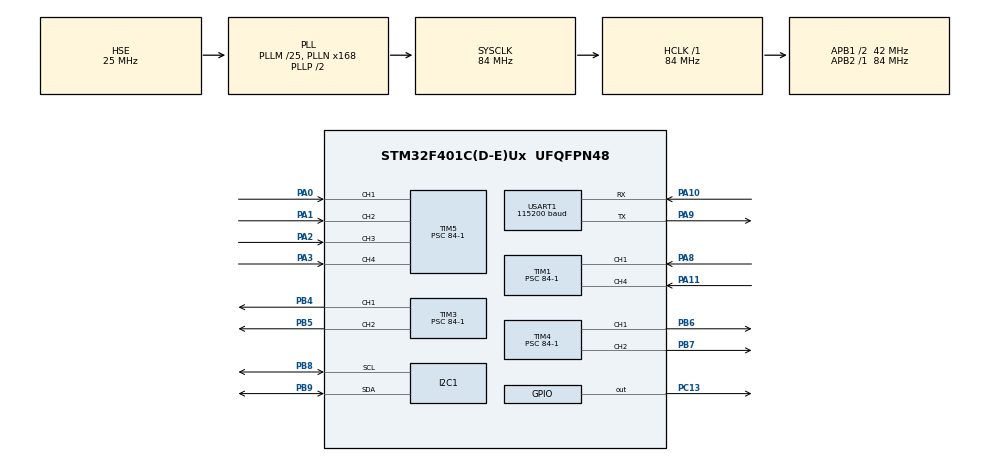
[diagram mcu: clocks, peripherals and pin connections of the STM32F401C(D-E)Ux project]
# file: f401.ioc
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Dma.Request0=USART1_RX
Dma.Request1=USART1_TX
Dma.USART1_RX.0.Direction=DMA_PERIPH_TO_MEMORY
Dma.USART1_RX.0.FIFOMode=DMA_FIFOMODE_DISABLE
Dma.USART1_RX.0.Instance=DMA2_Stream2
Dma.USART1_RX.0.MemDataAlignment=DMA_MDATAALIGN_BYTE
Dma.USART1_RX.0.MemInc=DMA_MINC_ENABLE
Dma.USART1_RX.0.Mode=DMA_CIRCULAR
Dma.USART1_RX.0.PeriphDataAlignment=DMA_PDATAALIGN_BYTE
Dma.USART1_RX.0.PeriphInc=DMA_PINC_DISABLE
Dma.USART1_RX.0.Priority=DMA_PRIORITY_HIGH
Dma.USART1_TX.1.Direction=DMA_MEMORY_TO_PERIPH
Dma.USART1_TX.1.FIFOMode=DMA_FIFOMODE_DISABLE
Dma.USART1_TX.1.Instance=DMA2_Stream7
Dma.USART1_TX.1.MemDataAlignment=DMA_MDATAALIGN_BYTE
Dma.USART1_TX.1.MemInc=DMA_MINC_ENABLE
Dma.USART1_TX.1.Mode=DMA_NORMAL
Dma.USART1_TX.1.PeriphDataAlignment=DMA_PDATAALIGN_BYTE
Dma.USART1_TX.1.PeriphInc=DMA_PINC_DISABLE
Dma.USART1_TX.1.Priority=DMA_PRIORITY_MEDIUM
I2C1.I2C_Mode=I2C_Fast
Mcu.Family=STM32F4
Mcu.Name=STM32F401C(D-E)Ux
Mcu.Package=UFQFPN48
NVIC.DMA2_Stream2_IRQn=true\:0\:0\:false\:false\:true\:false\:true\:true
NVIC.DMA2_Stream7_IRQn=true\:0\:0\:false\:false\:true\:false\:true\:true
NVIC.PriorityGroup=NVIC_PRIORITYGROUP_4
NVIC.TIM1_CC_IRQn=true\:0\:0\:false\:false\:true\:true\:true\:true
NVIC.TIM5_IRQn=true\:0\:0\:false\:false\:true\:true\:true\:true
NVIC.USART1_IRQn=true\:0\:0\:false\:false\:true\:true\:true\:true
PA0-WKUP.Signal=S_TIM5_CH1
PA1.Signal=S_TIM5_CH2
PA10.Mode=Asynchronous
PA10.Signal=USART1_RX
PA11.Signal=S_TIM1_CH4
PA13.Mode=Serial_Wire
PA13.Signal=SYS_JTMS-SWDIO
PA14.Mode=Serial_Wire
PA14.Signal=SYS_JTCK-SWCLK
PA2.Signal=S_TIM5_CH3
PA3.Signal=S_TIM5_CH4
PA8.Signal=S_TIM1_CH1
PA9.Mode=Asynchronous
PA9.Signal=USART1_TX
PB4.Signal=S_TIM3_CH1
PB5.Signal=S_TIM3_CH2
PB6.Signal=S_TIM4_CH1
PB7.Signal=S_TIM4_CH2
PB8.Mode=I2C
PB8.Signal=I2C1_SCL
PB9.Mode=I2C
PB9.Signal=I2C1_SDA
PC13-ANTI_TAMP.Signal=GPIO_Output
PH0\ -\ OSC_IN.Mode=HSE-External-Oscillator
PH0\ -\ OSC_IN.Signal=RCC_OSC_IN
PH1\ -\ OSC_OUT.Mode=HSE-External-Oscillator
PH1\ -\ OSC_OUT.Signal=RCC_OSC_OUT
ProjectManager.HeapSize=0x200
ProjectManager.StackSize=0x400
ProjectManager.TargetToolchain=STM32CubeIDE
RCC.48MHZClocksFreq_Value=42000000
RCC.AHBFreq_Value=84000000
RCC.APB1CLKDivider=RCC_HCLK_DIV2
RCC.APB1Freq_Value=42000000
RCC.APB1TimFreq_Value=84000000
RCC.APB2Freq_Value=84000000
RCC.APB2TimFreq_Value=84000000
RCC.CortexFreq_Value=84000000
RCC.HCLKFreq_Value=84000000
RCC.HSE_VALUE=25000000
RCC.HSI_VALUE=16000000
RCC.LSE_VALUE=32768
RCC.PLLM=25
RCC.PLLN=168
RCC.PLLSourceVirtual=RCC_PLLSOURCE_HSE
RCC.SYSCLKFreq_VALUE=84000000
RCC.SYSCLKSource=RCC_SYSCLKSOURCE_PLLCLK
RCC.VCOOutputFreq_Value=168000000
SH.S_TIM1_CH1.0=TIM1_CH1,Input_Capture1_from_TI1
SH.S_TIM1_CH4.0=TIM1_CH4,Input_Capture4_from_TI4
SH.S_TIM3_CH1.0=TIM3_CH1,PWM Generation1 CH1
SH.S_TIM3_CH2.0=TIM3_CH2,PWM Generation2 CH2
SH.S_TIM4_CH1.0=TIM4_CH1,PWM Generation1 CH1
SH.S_TIM4_CH2.0=TIM4_CH2,PWM Generation2 CH2
SH.S_TIM5_CH1.0=TIM5_CH1,Input_Capture1_from_TI1
SH.S_TIM5_CH2.0=TIM5_CH2,Input_Capture2_from_TI2
SH.S_TIM5_CH3.0=TIM5_CH3,Input_Capture3_from_TI3
SH.S_TIM5_CH4.0=TIM5_CH4,Input_Capture4_from_TI4
STMicroelectronics.X-CUBE-ALGOBUILD.1.4.0.LibraryCcDSPOoLibraryJjDSPOoLibrary=true
TIM1.Channel-Input_Capture1_from_TI1=TIM_CHANNEL_1
TIM1.Channel-Input_Capture4_from_TI4=TIM_CHANNEL_4
TIM1.ICPolarity_CH1=TIM_INPUTCHANNELPOLARITY_BOTHEDGE
TIM1.ICPolarity_CH4=TIM_INPUTCHANNELPOLARITY_BOTHEDGE
TIM1.Prescaler=84-1
TIM2.Prescaler=84-1
TIM3.Channel-PWM\ Generation1\ CH1=TIM_CHANNEL_1
TIM3.Channel-PWM\ Generation2\ CH2=TIM_CHANNEL_2
TIM3.Period=2500-1
TIM3.Prescaler=84-1
TIM4.Channel-PWM\ Generation1\ CH1=TIM_CHANNEL_1
TIM4.Channel-PWM\ Generation2\ CH2=TIM_CHANNEL_2
TIM4.Period=2500-1
TIM4.Prescaler=84-1
TIM5.Channel-Input_Capture1_from_TI1=TIM_CHANNEL_1
TIM5.Channel-Input_Capture2_from_TI2=TIM_CHANNEL_2
TIM5.Channel-Input_Capture3_from_TI3=TIM_CHANNEL_3
TIM5.Channel-Input_Capture4_from_TI4=TIM_CHANNEL_4
TIM5.ICPolarity_CH1=TIM_INPUTCHANNELPOLARITY_BOTHEDGE
TIM5.ICPolarity_CH2=TIM_INPUTCHANNELPOLARITY_BOTHEDGE
TIM5.ICPolarity_CH3=TIM_INPUTCHANNELPOLARITY_BOTHEDGE
TIM5.ICPolarity_CH4=TIM_INPUTCHANNELPOLARITY_BOTHEDGE
TIM5.Prescaler=84-1
USART1.BaudRate=115200
USART1.VirtualMode=VM_ASYNC
VP_STMicroelectronics.X-CUBE-ALGOBUILD_VS_DSPOoLibraryJjLibrary_1.4.0_1.4.0.Mode=DSPOoLibraryJjLibrary
VP_TIM2_VS_ClockSourceINT.Mode=Internal
VP_TIM3_VS_ClockSourceINT.Mode=Internal
VP_TIM4_VS_ClockSourceINT.Mode=Internal
VP_TIM5_VS_ClockSourceINT.Mode=Internal
board=custom

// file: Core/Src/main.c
/* USER CODE BEGIN Header */
/**
  * @file           : main.c
  * @brief          : FLIGHT CONTROLLER - RC RECEIVER READY
  * Updated         : iNav Style Support & Physical RC Setup
  */
/* USER CODE END Header */

#include "main.h"
#include "dma.h"
#include "i2c.h"
#include "tim.h"
#include "usart.h"
#include "gpio.h"

/* USER CODE BEGIN Includes */
#include "arm_math.h"
#include "Filter.h"
#include "PID.h"
#include <string.h>
#include <stdlib.h>
#include <stdio.h>
#include "Cal.h"
/* USER CODE END Includes */

/* USER CODE BEGIN PTD */
typedef enum {
    HOVER,      // Chế độ Angle (Tự cân bằng)
    RATE_MODE,  // Chế độ Rate (Bay nhào lộn / Khóa góc)
} MPC_Status_t;

typedef enum {
    ARM,
    NOT_ARM
} ARM_Status_t;

IMU_RAW_DATA_t MPU6500_RAW_DATA;
IMU_Data_t MPU6500_DATA;

MAG_RAW_DATA_t HMC5883L_RAW_DATA;
MAG_DATA_t HMC5883L_DATA;

MagCal_Simple_t MagCal = {
    .S = 1.0f,
    .state = MAG_CAL_DONE,
    .samples_target = 5000,
	.offset = {4.7840004f, -3.45000076f, 7.36000061f},
	.scale  = {0.937098265f, 0.954184234f, 1.13012183f}

};

Complimentary_Filter_t Complimentary_Filter = {
    .alpha[0] = 0.99, .alpha[1] = 0.99, .alpha[2] = 0.96,
};

/* ===================== PID CONFIGURATION ===================== */
// LƯU Ý: Feed Forward đang để 0.05 (Mức thấp an toàn cho iNav style)
// Sau khi bay ổn, hãy tăng dần lên 0.1 -> 0.2 để bay "dính tay" hơn.

// RATE LOOP (Inner Loop)
PID_ALTIDUE_t PID_RATE_ROLL = {
    .alpha_lpf = 0.88, .feed_forward = 0.05f, .i_limit = 75, .max_output = 400,
    .kp = 0.700993, .ki = 1.265000, .kd = 0.112501, .d_limit = 22.5,
};
PID_ALTIDUE_t PID_RATE_PITCH = {
    .alpha_lpf = 0.88, .feed_forward = 0.05f, .i_limit = 75, .max_output = 400,
    .kp = 0.700993, .ki = 1.265000, .kd = 0.112501, .d_limit = 22.5,
};
PID_ALTIDUE_t PID_RATE_YAW = {
    .alpha_lpf = 0.88, .feed_forward = 0.05f, .i_limit = 75, .max_output = 400,
    .kp = 1.456010, .ki = 1.401011, .kd = 0.138702, .d_limit = 22.5,
};

// ANGLE LOOP (Outer Loop)
PID_ALTIDUE_t PID_ROLL = {
    .alpha_lpf = 0.88, .feed_forward = 0, .i_limit = 65, .max_output = 150,
    .kp = 1.7, .ki = 0.007, .kd = 1.8, .d_limit = 22.5,
};
PID_ALTIDUE_t PID_PITCH = {
    .alpha_lpf = 0.88, .feed_forward = 0, .i_limit = 65, .max_output = 150,
    .kp = 1.7, .ki = 0.007, .kd = 1.8, .d_limit = 22.5,
};
PID_ALTIDUE_t PID_YAW = {
    .alpha_lpf = 0.88, .feed_forward = 0, .i_limit = 60, .max_output = 120,
    .kp = 1.5, .ki = 0.001, .kd = 0.0, .d_limit = 22.5,
};

MPC_Status_t MPC_Status = HOVER;
ARM_Status_t ARM_Status = NOT_ARM;
/* USER CODE END PTD */

/* USER CODE BEGIN PD */
#define MIN_ARM 1240 // Mức ga tối thiểu để motor quay
#define RX_DMA_SIZE    256
#define CMD_LINE_SIZE  128
#define HMC5883L_ADDR      (0x1E << 1)
#define HMC5883L_SCALE_GAUSS 0.00092f
#define HMC5883L_SCALE_UT    (HMC5883L_SCALE_GAUSS * 100.0f)
#define MPU6050_ADDR         (0x68 << 1)
#define GYRO_SENSITIVITY     65.5f
#define ACCEL_SENSITIVITY    4096.0f
#define GRAVITY_EARTH        9.80665f
#define MAG_LPF_ALPHA   0.08f
/* USER CODE END PD */

/* USER CODE BEGIN PV */
int16_t raw_acc[3];
int16_t raw_gyro[3];
float32_t acc_phys[3], gyro_phys[3];
uint32_t current_time, prev_time, dt;
uint8_t enable_motor = 0;

// Variables for RC Control
float32_t Throttle = 1000.0f;
float32_t Moment[3];
float32_t angle_desired[3] = {0, 0, 0};
float32_t angle_rate_desired[3] = {0, 0, 0};

// Motor Output
float32_t PWM_MOTOR[4];
uint32_t PWM_TIMER[4];

// Telemetry
float vbat = 11.1f; // Bạn cần đọc ADC pin thực tế để cập nhật biến này
uint32_t last_telemetry_time = 0;

// Filters
float32_t gyro_final[3] = {0.0f, 0.0f, 0.0f};
float32_t acc_filtered[3] = {0.0f, 0.0f, 0.0f};
const float32_t alpha_acc_soft = 0.20f;
const float32_t alpha_gyro = 0.35f;
float32_t mag_filtered[3] = {0.0f, 0.0f, 0.0f};
uint8_t mag_lpf_inited = 0;

// Calibration
float32_t gyro_bias[3] = {0.0f, 0.0f, 0.0f};
float32_t accel_bias[3] = {0.0f, 0.0f, 0.0f};
uint8_t is_calibrated = 0;

// UART Buffers (For PID Tuning Only)
static uint8_t rx_dma_buf[RX_DMA_SIZE];
static char cmd_work[CMD_LINE_SIZE];
static uint16_t cmd_len = 0;
static char cmd_ready[CMD_LINE_SIZE];
static volatile uint8_t line_ready = 0;

// --- BIẾN ĐỌC RC THÔ (RAW PWM) ---
// Đơn vị: micro giây (us). Giá trị chuẩn: 1000 - 2000
volatile uint32_t RC_Raw_Roll     = 0; // TIM5 CH1
volatile uint32_t RC_Raw_Pitch    = 0; // TIM5 CH2
volatile uint32_t RC_Raw_Throttle = 0; // TIM5 CH3
volatile uint32_t RC_Raw_Yaw      = 0; // TIM5 CH4
volatile uint32_t RC_Raw_SW_Arm   = 0; // TIM1 CH1
volatile uint32_t RC_Raw_SW_Mode  = 0; // TIM1 CH4

// Biến phụ trợ để tính toán thời gian
uint32_t val_start_roll = 0, val_start_pitch = 0, val_start_thr = 0, val_start_yaw = 0;
uint32_t val_start_arm = 0, val_start_mode = 0;

static MPC_Status_t last_MPC_Status = HOVER;
static uint8_t reset_pid_request = 0; // Cờ yêu cầu đồng bộ PID

/* USER CODE END PV */

void SystemClock_Config(void);
/* USER CODE BEGIN PFP */
void IMU_PROCESS(void);
void COMPASS_PROCESS(void);
void MIX_THROTTLE(float32_t thr, float32_t* moment, float32_t* m);
void MPC(void);
void Control_Motor(void);
void RESET_ALL_PID(void);
void Send_Telemetry(void);
static void UART1_StartRxToIdle_DMA(void);
static void ProcessLine(char *line);
void MPU6050_Init(void);
void HMC5883L_Init(void);
void MPU6050_Calibrate(void);
/* USER CODE END PFP */

/* USER CODE BEGIN 0 */

/* --- UART Logic --- */
static void UART1_StartRxToIdle_DMA(void) {
    HAL_UART_DMAStop(&huart1);
    if (HAL_UARTEx_ReceiveToIdle_DMA(&huart1, rx_dma_buf, RX_DMA_SIZE) != HAL_OK) {
        HAL_UART_DeInit(&huart1);
        HAL_UART_Init(&huart1);
        HAL_UARTEx_ReceiveToIdle_DMA(&huart1, rx_dma_buf, RX_DMA_SIZE);
    }
    __HAL_DMA_DISABLE_IT(huart1.hdmarx, DMA_IT_HT);
}

// Xử lý lệnh Tune PID từ GUI (Không còn lệnh điều khiển bay)
// Xử lý lệnh Tune PID từ GUI
static void ProcessLine(char *line) {
    size_t n = strlen(line);
    while (n > 0 && (line[n-1] == '\r' || line[n-1] == '\n')) {
        line[n-1] = 0; n--;
    }
    if (n == 0) return;

    char *tok = strtok(line, ":");
    if (!tok) return;

    if (strcmp(tok, "PID") == 0) {
        char *axis = strtok(NULL, ":");
        char *s_kp = strtok(NULL, ":");
        char *s_ki = strtok(NULL, ":");
        char *s_kd = strtok(NULL, ":");

        if (axis && s_kp && s_ki && s_kd) {
            float p = strtof(s_kp, NULL);
            float i = strtof(s_ki, NULL);
            float d = strtof(s_kd, NULL);

            // 1. TUNE ANGLE LOOP (ROLL & PITCH)
            if (strcmp(axis, "ANG") == 0) {
                PID_ROLL.kp = p; PID_ROLL.ki = i; PID_ROLL.kd = d;
                PID_PITCH.kp = p; PID_PITCH.ki = i; PID_PITCH.kd = d;
                HAL_GPIO_TogglePin(GPIOC, GPIO_PIN_13);
            }

            // 2. TUNE YAW ANGLE LOOP (OUTER - MỚI)
            else if (strcmp(axis, "YANG") == 0) {
                PID_YAW.kp = p; PID_YAW.ki = i; PID_YAW.kd = d;
                HAL_GPIO_TogglePin(GPIOC, GPIO_PIN_13);
            }

            // 3. TUNE YAW RATE LOOP (INNER - CŨ)
            else if (strcmp(axis, "YAW") == 0) {
                PID_RATE_YAW.kp = p; PID_RATE_YAW.ki = i; PID_RATE_YAW.kd = d;
                HAL_GPIO_TogglePin(GPIOC, GPIO_PIN_13);
            }

            // ACK
            if (huart1.gState == HAL_UART_STATE_READY) {
                char ack[64];
                int len = snprintf(ack, sizeof(ack), "MSG:UPDATED %s P=%.3f\n", axis, p);
                if (len > 0) HAL_UART_Transmit(&huart1, (uint8_t*)ack, (uint16_t)len, 10);
            }
        }
    }
}

void Send_Telemetry(void) {
    if (huart1.gState != HAL_UART_STATE_READY) return;
    static char tx_buf[128];
    // Gửi dữ liệu góc để vẽ đồ thị
    int len = sprintf(tx_buf, "{\"roll\":%.1f,\"pitch\":%.1f,\"yaw\":%.1f,\"v\":%.1f}\n",
            Complimentary_Filter.Euler_Angle_Deg[0],
            Complimentary_Filter.Euler_Angle_Deg[1],
            Complimentary_Filter.Euler_Angle_Deg[2],
            vbat);
    HAL_UART_Transmit_DMA(&huart1, (uint8_t*)tx_buf, len);
}

/* --- IMU Functions --- */
void MPU6050_Init(void) {
    uint8_t data;
    data = 0x00; HAL_I2C_Mem_Write(&hi2c1, MPU6050_ADDR, 0x6B, 1, &data, 1, 100);
    data = 0x06; HAL_I2C_Mem_Write(&hi2c1, MPU6050_ADDR, 0x1A, 1, &data, 1, 100);
    data = 0x08; HAL_I2C_Mem_Write(&hi2c1, MPU6050_ADDR, 0x1B, 1, &data, 1, 100);
    data = 0x10; HAL_I2C_Mem_Write(&hi2c1, MPU6050_ADDR, 0x1C, 1, &data, 1, 100);
    uint8_t bypass_en = 0x02; HAL_I2C_Mem_Write(&hi2c1, MPU6050_ADDR, 0x37, 1, &bypass_en, 1, 100);
}

void MPU6050_Calibrate(void) {
    uint8_t buffer[14];
    int32_t sum_acc[3] = {0}, sum_gyro[3] = {0};
    int16_t ra_acc[3], ra_gyro[3];
    int sample_count = 1000;

    for (int i = 0; i < sample_count; i++) {
        if (HAL_I2C_Mem_Read(&hi2c1, MPU6050_ADDR, 0x3B, 1, buffer, 14, 10) == HAL_OK) {
            ra_acc[0] = (int16_t)(buffer[0] << 8 | buffer[1]);
            ra_acc[1] = (int16_t)(buffer[2] << 8 | buffer[3]);
            ra_acc[2] = (int16_t)(buffer[4] << 8 | buffer[5]);
            ra_gyro[0] = (int16_t)(buffer[8] << 8 | buffer[9]);
            ra_gyro[1] = (int16_t)(buffer[10] << 8 | buffer[11]);
            ra_gyro[2] = (int16_t)(buffer[12] << 8 | buffer[13]);

            sum_acc[0] += ra_acc[0]; sum_acc[1] += ra_acc[1]; sum_acc[2] += ra_acc[2];
            sum_gyro[0] += ra_gyro[0]; sum_gyro[1] += ra_gyro[1]; sum_gyro[2] += ra_gyro[2];
        }
        HAL_Delay(2);
    }
    gyro_bias[0] = (float)sum_gyro[0] / sample_count;
    gyro_bias[1] = (float)sum_gyro[1] / sample_count;
    gyro_bias[2] = (float)sum_gyro[2] / sample_count;
    accel_bias[0] = (float)sum_acc[0] / sample_count;
    accel_bias[1] = (float)sum_acc[1] / sample_count;
    accel_bias[2] = ((float)sum_acc[2] / sample_count) - 4096.0f;
    is_calibrated = 1;
}

void HMC5883L_Init(void) {
    uint8_t data;
    data = 0x70; HAL_I2C_Mem_Write(&hi2c1, HMC5883L_ADDR, 0x00, 1, &data, 1, 100);
    data = 0x20; HAL_I2C_Mem_Write(&hi2c1, HMC5883L_ADDR, 0x01, 1, &data, 1, 100);
    data = 0x00; HAL_I2C_Mem_Write(&hi2c1, HMC5883L_ADDR, 0x02, 1, &data, 1, 100);
    HAL_Delay(10);
}

void IMU_PROCESS(void) {
    uint8_t buffer[14];
    if (HAL_I2C_Mem_Read(&hi2c1, MPU6050_ADDR, 0x3B, 1, buffer, 14, 10) == HAL_OK) {
        raw_acc[0] = (int16_t)(buffer[0] << 8 | buffer[1]);
        raw_acc[1] = (int16_t)(buffer[2] << 8 | buffer[3]);
        raw_acc[2] = (int16_t)(buffer[4] << 8 | buffer[5]);
        raw_gyro[0] = (int16_t)(buffer[8] << 8 | buffer[9]);
        raw_gyro[1] = (int16_t)(buffer[10] << 8 | buffer[11]);
        raw_gyro[2] = (int16_t)(buffer[12] << 8 | buffer[13]);

        float32_t acc_temp[3], gyro_temp[3];
        if (is_calibrated) {
            acc_temp[0] = (float32_t)raw_acc[0] - accel_bias[0];
            acc_temp[1] = (float32_t)raw_acc[1] - accel_bias[1];
            acc_temp[2] = (float32_t)raw_acc[2] - accel_bias[2];
            gyro_temp[0] = (float32_t)raw_gyro[0] - gyro_bias[0];
            gyro_temp[1] = (float32_t)raw_gyro[1] - gyro_bias[1];
            gyro_temp[2] = (float32_t)raw_gyro[2] - gyro_bias[2];
        } else {
            acc_temp[0] = raw_acc[0]; acc_temp[1] = raw_acc[1]; acc_temp[2] = raw_acc[2];
            gyro_temp[0] = raw_gyro[0]; gyro_temp[1] = raw_gyro[1]; gyro_temp[2] = raw_gyro[2];
        }

        acc_phys[0] = (acc_temp[0] / ACCEL_SENSITIVITY) * GRAVITY_EARTH;
        acc_phys[1] = -(acc_temp[1] / ACCEL_SENSITIVITY) * GRAVITY_EARTH;
        acc_phys[2] = -(acc_temp[2] / ACCEL_SENSITIVITY) * GRAVITY_EARTH;
        gyro_phys[0] = (gyro_temp[0] / GYRO_SENSITIVITY) * DEG_TO_RAD;
        gyro_phys[1] = -(gyro_temp[1] / GYRO_SENSITIVITY) * DEG_TO_RAD;
        gyro_phys[2] = -(gyro_temp[2] / GYRO_SENSITIVITY) * DEG_TO_RAD;

        // Accel LPF
        static uint8_t acc_lpf_inited = 0;
        if (!acc_lpf_inited) {
            acc_filtered[0] = acc_phys[0]; acc_filtered[1] = acc_phys[1]; acc_filtered[2] = acc_phys[2];
            acc_lpf_inited = 1;
        } else {
            for (int i = 0; i < 3; i++) acc_filtered[i] += alpha_acc_soft * (acc_phys[i] - acc_filtered[i]);
        }

        // Gyro LPF
        static uint8_t gyro_lpf_inited = 0;
        if (!gyro_lpf_inited) {
            gyro_final[0] = gyro_phys[0]; gyro_final[1] = gyro_phys[1]; gyro_final[2] = gyro_phys[2];
            gyro_lpf_inited = 1;
        } else {
            for (int i = 0; i < 3; i++) gyro_final[i] += alpha_gyro * (gyro_phys[i] - gyro_final[i]);
        }

        MPU6500_DATA.acc[0] = acc_filtered[0]; MPU6500_DATA.acc[1] = acc_filtered[1]; MPU6500_DATA.acc[2] = acc_filtered[2];
        MPU6500_DATA.w[0] = gyro_final[0]; MPU6500_DATA.w[1] = gyro_final[1]; MPU6500_DATA.w[2] = gyro_final[2];
    }
}

void COMPASS_PROCESS(void) {
    uint8_t buffer[6];
    int16_t raw_x, raw_y, raw_z;
    if (HAL_I2C_Mem_Read(&hi2c1, HMC5883L_ADDR, 0x03, 1, buffer, 6, 100) == HAL_OK) {
        raw_x = (int16_t)(buffer[0] << 8 | buffer[1]);
        raw_z = (int16_t)(buffer[2] << 8 | buffer[3]);
        raw_y = (int16_t)(buffer[4] << 8 | buffer[5]);

        HMC5883L_RAW_DATA.mag[0] = -(float32_t)raw_x * HMC5883L_SCALE_UT;
        HMC5883L_RAW_DATA.mag[1] = (float32_t)raw_y * HMC5883L_SCALE_UT;
        HMC5883L_RAW_DATA.mag[2] = -(float32_t)raw_z * HMC5883L_SCALE_UT;

        MagCal_Update(&MagCal, &HMC5883L_RAW_DATA, &HMC5883L_DATA);

        if (MagCal.state == MAG_CAL_DONE) {
            if (!mag_lpf_inited) {
                mag_filtered[0] = HMC5883L_DATA.mag_uT[0];
                mag_filtered[1] = HMC5883L_DATA.mag_uT[1];
                mag_filtered[2] = HMC5883L_DATA.mag_uT[2];
                mag_lpf_inited = 1;
            } else {
                mag_filtered[0] += MAG_LPF_ALPHA * (HMC5883L_DATA.mag_uT[0] - mag_filtered[0]);
                mag_filtered[1] += MAG_LPF_ALPHA * (HMC5883L_DATA.mag_uT[1] - mag_filtered[1]);
                mag_filtered[2] += MAG_LPF_ALPHA * (HMC5883L_DATA.mag_uT[2] - mag_filtered[2]);
            }
            HMC5883L_DATA.mag_uT[0] = mag_filtered[0];
            HMC5883L_DATA.mag_uT[1] = mag_filtered[1];
            HMC5883L_DATA.mag_uT[2] = mag_filtered[2];
        }
    }
}
// =============================================================================
// MPC CONTROL LOOP (MAIN FLIGHT LOGIC)
// =============================================================================
void MPC(void) {
    float32_t feedback[3];
    float32_t real_dt = MPU6500_DATA.dt;

    if (real_dt > 0.01f) real_dt = 0.01f;
    if (real_dt < 0.001f) real_dt = 0.004f;

    if (RC_Raw_Throttle < 950) {
        if (ARM_Status == ARM) {
            MPC_Status = HOVER;
            angle_desired[0] = 0.0f;
            angle_desired[1] = 0.0f;
            Throttle -= 0.2f;
            if (Throttle < 1100.0f) {
                ARM_Status = NOT_ARM; enable_motor = 0; Throttle = 1000.0f;
            }
        }
    }
    else {
        // --- NORMAL CONTROL ---
        if (RC_Raw_Throttle > 2000) Throttle = 2000.0f;
        else if (RC_Raw_Throttle < 1000) Throttle = 1000.0f;
        else Throttle = (float32_t)RC_Raw_Throttle;

        // Check Mode Change
        MPC_Status_t current_Mode = (RC_Raw_SW_Mode > 1500) ? HOVER : RATE_MODE;
        if (current_Mode != last_MPC_Status) {
            MPC_Status = current_Mode;
            last_MPC_Status = current_Mode;
            reset_pid_request = 1; // Yêu cầu đồng bộ PID
        }

        // Check Arming
        if (RC_Raw_SW_Arm > 1500) {
            if (ARM_Status == NOT_ARM && Throttle < 1150) {
                ARM_Status = ARM; enable_motor = 1;
                RESET_ALL_PID();
                // Reset góc mong muốn về góc hiện tại
                angle_desired[0] = 0;
                angle_desired[1] = 0;
                angle_desired[2] = Complimentary_Filter.Euler_Angle_Deg[2];
                reset_pid_request = 1;
            }
        } else {
            ARM_Status = NOT_ARM; enable_motor = 0;
        }

        // Stick Mapping & Deadband
        float32_t stick_roll  = (float32_t)RC_Raw_Roll - 1500.0f;
        float32_t stick_pitch = (float32_t)RC_Raw_Pitch - 1500.0f;
        float32_t stick_yaw   = (float32_t)RC_Raw_Yaw - 1500.0f;

        if (fabsf(stick_yaw) < 15.0f) stick_yaw = 0.0f;
        if (fabsf(stick_roll) < 5.0f) stick_roll = 0.0f;
        if (fabsf(stick_pitch) < 5.0f) stick_pitch = 0.0f;

        if (MPC_Status == HOVER) {
            angle_desired[0] = stick_roll * 0.06f;
            angle_desired[1] = -stick_pitch * 0.06f;

            float yaw_speed = 150.0f;
            float angle_step = (stick_yaw / 500.0f) * yaw_speed * real_dt;
            angle_desired[2] += angle_step;

            if (angle_desired[2] > 180.0f) angle_desired[2] -= 360.0f;
            if (angle_desired[2] < -180.0f) angle_desired[2] += 360.0f;
        } else {
            angle_rate_desired[0] = stick_roll * 0.20f;
            angle_rate_desired[1] = -stick_pitch * 0.20f;
            angle_rate_desired[2] = stick_yaw * 0.20f;
        }
    }

    if (ARM_Status == ARM) {
        if (Throttle < 1500.0f) {
            PID_ROLL.integral = 0; PID_PITCH.integral = 0; PID_YAW.integral = 0;
            PID_RATE_ROLL.integral = 0; PID_RATE_PITCH.integral = 0; PID_RATE_YAW.integral = 0;
        }
        switch (MPC_Status) {
            case RATE_MODE:
                // --- RATE MODE: SYNC TRƯỚC PID ---
                if (reset_pid_request) {
                    PID_RATE_ROLL.prev_setpoint = angle_rate_desired[0];
                    PID_RATE_PITCH.prev_setpoint = angle_rate_desired[1];
                    PID_RATE_YAW.prev_setpoint = angle_rate_desired[2];
                    reset_pid_request = 0;
                }

                feedback[0] = MPU6500_DATA.w[0] * RAD_TO_DEG;
                feedback[1] = MPU6500_DATA.w[1] * RAD_TO_DEG;
                feedback[2] = MPU6500_DATA.w[2] * RAD_TO_DEG;

                Caculate_PID_Rate_ALTIDUE(&PID_RATE_ROLL, angle_rate_desired[0], feedback[0], real_dt);
                Caculate_PID_Rate_ALTIDUE(&PID_RATE_PITCH, angle_rate_desired[1], feedback[1], real_dt);
                Caculate_PID_Rate_ALTIDUE(&PID_RATE_YAW, angle_rate_desired[2], feedback[2], real_dt);

                Moment[0] = PID_RATE_ROLL.output;
                Moment[1] = PID_RATE_PITCH.output;
                Moment[2] = PID_RATE_YAW.output;

                MIX_THROTTLE(Throttle, Moment, PWM_MOTOR);
                Control_Motor();
                break;

            case HOVER:

                // 1. Angle PID
                feedback[0] = Complimentary_Filter.Euler_Angle_Deg[0];
                feedback[1] = Complimentary_Filter.Euler_Angle_Deg[1];
                feedback[2] = Complimentary_Filter.Euler_Angle_Deg[2];

                Caculate_PID_ALTIDUE(&PID_ROLL, angle_desired[0], feedback[0], real_dt);
                Caculate_PID_ALTIDUE(&PID_PITCH, angle_desired[1], feedback[1], real_dt);
                Caculate_PID_ALTIDUE(&PID_YAW, angle_desired[2], feedback[2], real_dt);

                angle_rate_desired[0] = PID_ROLL.output;
                angle_rate_desired[1] = PID_PITCH.output;
                angle_rate_desired[2] = PID_YAW.output;

                if (reset_pid_request) {
                    PID_RATE_ROLL.prev_setpoint = angle_rate_desired[0];
                    PID_RATE_PITCH.prev_setpoint = angle_rate_desired[1];
                    PID_RATE_YAW.prev_setpoint = angle_rate_desired[2];
                    reset_pid_request = 0;
                }

                // 3. Rate PID
                feedback[0] = MPU6500_DATA.w[0] * RAD_TO_DEG;
                feedback[1] = MPU6500_DATA.w[1] * RAD_TO_DEG;
                feedback[2] = MPU6500_DATA.w[2] * RAD_TO_DEG;

                Caculate_PID_Rate_ALTIDUE(&PID_RATE_ROLL, angle_rate_desired[0], feedback[0], real_dt);
                Caculate_PID_Rate_ALTIDUE(&PID_RATE_PITCH, angle_rate_desired[1], feedback[1], real_dt);
                Caculate_PID_Rate_ALTIDUE(&PID_RATE_YAW, angle_rate_desired[2], feedback[2], real_dt);

                Moment[0] = PID_RATE_ROLL.output;
                Moment[1] = PID_RATE_PITCH.output;
                Moment[2] = PID_RATE_YAW.output;

                MIX_THROTTLE(Throttle, Moment, PWM_MOTOR);
                Control_Motor();
                break;
        }
    } else {
        for (int i = 0; i < 4; i++) { PWM_MOTOR[i] = 1000; PWM_TIMER[i] = 1000; }
        Control_Motor();
        RESET_ALL_PID();

        angle_rate_desired[0] = 0; angle_rate_desired[1] = 0; angle_rate_desired[2] = 0;
        angle_desired[0] = 0;
        angle_desired[1] = 0;
        angle_desired[2] = Complimentary_Filter.Euler_Angle_Deg[2];
    }
}
void RESET_ALL_PID(void) {
    Reset_PID_ALTIDUE(&PID_RATE_ROLL); Reset_PID_ALTIDUE(&PID_RATE_PITCH); Reset_PID_ALTIDUE(&PID_RATE_YAW);
    Reset_PID_ALTIDUE(&PID_ROLL); Reset_PID_ALTIDUE(&PID_PITCH); Reset_PID_ALTIDUE(&PID_YAW);
}

void MIX_THROTTLE(float32_t thr, float32_t* moment, float32_t* m) {
    m[0] = thr - moment[0] + moment[1] + moment[2]; // Motor 1
    m[1] = thr - moment[0] - moment[1] - moment[2]; // Motor 2
    m[2] = thr + moment[0] - moment[1] + moment[2]; // Motor 3
    m[3] = thr + moment[0] + moment[1] - moment[2]; // Motor 4

    for (int i = 0; i < 4; i++) {
        if (m[i] > 1850) m[i] = 1850;
        if (m[i] < MIN_ARM) m[i] = MIN_ARM;
    }
}
void Control_Motor(void) {
    if (enable_motor) {
        for (int i = 0; i < 4; i++) PWM_TIMER[i] = (uint32_t)PWM_MOTOR[i];
        TIM3->CCR1 = PWM_TIMER[0]; TIM3->CCR2 = PWM_TIMER[1];
        TIM4->CCR1 = PWM_TIMER[2]; TIM4->CCR2 = PWM_TIMER[3];
    } else {
        TIM3->CCR1 = 1000; TIM3->CCR2 = 1000; TIM4->CCR1 = 1000; TIM4->CCR2 = 1000;
    }
}

/* USER CODE END 0 */

int main(void)
{
  HAL_Init();
  SystemClock_Config();

  MX_GPIO_Init();
  MX_DMA_Init();
  MX_TIM1_Init();
  MX_TIM2_Init();
  MX_TIM3_Init();
  MX_TIM4_Init();
  MX_TIM5_Init();
  MX_I2C1_Init();
  MX_USART1_UART_Init();

  /* USER CODE BEGIN 2 */
  HAL_GPIO_TogglePin(GPIOC, GPIO_PIN_13); HAL_Delay(200);
  HAL_GPIO_TogglePin(GPIOC, GPIO_PIN_13); HAL_Delay(200);
  HAL_GPIO_TogglePin(GPIOC, GPIO_PIN_13);

  HAL_TIM_Base_Start(&htim2);
  HAL_TIM_PWM_Start(&htim3, TIM_CHANNEL_1); HAL_TIM_PWM_Start(&htim3, TIM_CHANNEL_2);
  HAL_TIM_PWM_Start(&htim4, TIM_CHANNEL_1); HAL_TIM_PWM_Start(&htim4, TIM_CHANNEL_2);

  HAL_TIM_IC_Start_IT(&htim5, TIM_CHANNEL_1); // Roll
  HAL_TIM_IC_Start_IT(&htim5, TIM_CHANNEL_2); // Pitch
  HAL_TIM_IC_Start_IT(&htim5, TIM_CHANNEL_3); // Throttle
  HAL_TIM_IC_Start_IT(&htim5, TIM_CHANNEL_4); // Yaw

  HAL_TIM_IC_Start_IT(&htim1, TIM_CHANNEL_1); // SW Arm
  HAL_TIM_IC_Start_IT(&htim1, TIM_CHANNEL_4); // SW Mode

  TIM3->CCR1 = 1000; TIM3->CCR2 = 1000; TIM4->CCR1 = 1000; TIM4->CCR2 = 1000;

  MPU6050_Init(); HAL_Delay(50);
  HMC5883L_Init(); HAL_Delay(500);
  MPU6050_Calibrate();

  RESET_ALL_PID();
  current_time = TIM2->CNT;
  enable_motor = 0;
  ARM_Status = NOT_ARM;
  Throttle = 1000.0f;

  UART1_StartRxToIdle_DMA();
  /* USER CODE END 2 */

  /* Infinite loop */
  while (1)
  {
    /* USER CODE BEGIN WHILE */
    // 1. Capture Cycle Time (Loop Pacing)
    current_time = TIM2->CNT;
    dt = current_time - prev_time;
    prev_time = current_time;

    if (dt > 10000) dt = 4000;

    // 2. UART Command (PID Tuning ONLY)
    if (line_ready) {
        char local[CMD_LINE_SIZE];
        __disable_irq();
        strncpy(local, cmd_ready, CMD_LINE_SIZE);
        local[CMD_LINE_SIZE-1] = 0;
        line_ready = 0;
        __enable_irq();
        ProcessLine(local);
    }

    // 3. Sensor Update
    IMU_PROCESS();
    COMPASS_PROCESS();

    // 4. Update Filter & PID with REAL dt
    MPU6500_DATA.dt = (float32_t)dt * 1.0e-6f;
    Complimentary_Filter_Predict(&Complimentary_Filter, &MPU6500_DATA);
    if (MagCal.state == MAG_CAL_DONE) {
        Complimentary_Filter_Update(&Complimentary_Filter, &HMC5883L_DATA);
    }

    // 5. Control Loop (MPC)
    MPC();

    // 6. Telemetry (Gửi dữ liệu vẽ đồ thị)
    if (HAL_GetTick() - last_telemetry_time > 100) { // 10Hz
        Send_Telemetry();
        last_telemetry_time = HAL_GetTick();
    }

    // 7. Precise Loop Pacing (Đảm bảo Loop 250Hz - 4000us)
    while ((TIM2->CNT - current_time) < 4000);

    /* USER CODE END WHILE */

  }
}

void SystemClock_Config(void)
{
  RCC_OscInitTypeDef RCC_OscInitStruct = {0};
  RCC_ClkInitTypeDef RCC_ClkInitStruct = {0};

  __HAL_RCC_PWR_CLK_ENABLE();
  __HAL_PWR_VOLTAGESCALING_CONFIG(PWR_REGULATOR_VOLTAGE_SCALE2);

  RCC_OscInitStruct.OscillatorType = RCC_OSCILLATORTYPE_HSE;
  RCC_OscInitStruct.HSEState = RCC_HSE_ON;
  RCC_OscInitStruct.PLL.PLLState = RCC_PLL_ON;
  RCC_OscInitStruct.PLL.PLLSource = RCC_PLLSOURCE_HSE;
  RCC_OscInitStruct.PLL.PLLM = 25;
  RCC_OscInitStruct.PLL.PLLN = 168;
  RCC_OscInitStruct.PLL.PLLP = RCC_PLLP_DIV2;
  RCC_OscInitStruct.PLL.PLLQ = 4;
  if (HAL_RCC_OscConfig(&RCC_OscInitStruct) != HAL_OK)
  {
    Error_Handler();
  }

  RCC_ClkInitStruct.ClockType = RCC_CLOCKTYPE_HCLK|RCC_CLOCKTYPE_SYSCLK
                              |RCC_CLOCKTYPE_PCLK1|RCC_CLOCKTYPE_PCLK2;
  RCC_ClkInitStruct.SYSCLKSource = RCC_SYSCLKSOURCE_PLLCLK;
  RCC_ClkInitStruct.AHBCLKDivider = RCC_SYSCLK_DIV1;
  RCC_ClkInitStruct.APB1CLKDivider = RCC_HCLK_DIV2;
  RCC_ClkInitStruct.APB2CLKDivider = RCC_HCLK_DIV1;

  if (HAL_RCC_ClockConfig(&RCC_ClkInitStruct, FLASH_LATENCY_2) != HAL_OK)
  {
    Error_Handler();
  }
}

/* USER CODE BEGIN 4 */
static void UART_ParseByte_ISR(uint8_t b) {
    if (b == '\r') return;
    if (b == '\n') {
        cmd_work[cmd_len] = 0;
        if (!line_ready) {
            strncpy(cmd_ready, cmd_work, CMD_LINE_SIZE);
            cmd_ready[CMD_LINE_SIZE-1] = 0;
            line_ready = 1;
        }
        cmd_len = 0;
        return;
    }
    if (b >= 32 && b <= 126) {
        if (cmd_len < (CMD_LINE_SIZE - 1)) cmd_work[cmd_len++] = (char)b;
        else cmd_len = 0;
    }
}

void HAL_UARTEx_RxEventCallback(UART_HandleTypeDef *huart, uint16_t Size) {
    if (huart->Instance == USART1) {
        for (uint16_t i = 0; i < Size; i++) UART_ParseByte_ISR(rx_dma_buf[i]);
        UART1_StartRxToIdle_DMA();
    }
}

void HAL_UART_ErrorCallback(UART_HandleTypeDef *huart) {
    if (huart->Instance == USART1) {
        HAL_UART_DMAStop(&huart1);
        volatile uint32_t temp = huart->Instance->SR;
        temp = huart->Instance->DR;
        (void)temp;
        UART1_StartRxToIdle_DMA();
    }
}
/* USER CODE BEGIN 4 */

// HÀM ĐỌC ĐỘ RỘNG XUNG PWM (Input Capture)
void HAL_TIM_IC_CaptureCallback(TIM_HandleTypeDef *htim)
{
    // --- XỬ LÝ TIM5 (4 Kênh chính: A, E, T, R) ---
    if (htim->Instance == TIM5)
    {
        // 1. ROLL (PA0 - CH1)
        if (htim->Channel == HAL_TIM_ACTIVE_CHANNEL_1) {
            if (HAL_GPIO_ReadPin(GPIOA, GPIO_PIN_0) == GPIO_PIN_SET) {
                val_start_roll = HAL_TIM_ReadCapturedValue(htim, TIM_CHANNEL_1); // Sườn lên
            } else {
                RC_Raw_Roll = HAL_TIM_ReadCapturedValue(htim, TIM_CHANNEL_1) - val_start_roll; // Sườn xuống
            }
        }
        // 2. PITCH (PA1 - CH2)
        else if (htim->Channel == HAL_TIM_ACTIVE_CHANNEL_2) {
            if (HAL_GPIO_ReadPin(GPIOA, GPIO_PIN_1) == GPIO_PIN_SET) {
                val_start_pitch = HAL_TIM_ReadCapturedValue(htim, TIM_CHANNEL_2);
            } else {
                RC_Raw_Pitch = HAL_TIM_ReadCapturedValue(htim, TIM_CHANNEL_2) - val_start_pitch;
            }
        }
        // 3. THROTTLE (PA2 - CH3)
        else if (htim->Channel == HAL_TIM_ACTIVE_CHANNEL_3) {
            if (HAL_GPIO_ReadPin(GPIOA, GPIO_PIN_2) == GPIO_PIN_SET) {
                val_start_thr = HAL_TIM_ReadCapturedValue(htim, TIM_CHANNEL_3);
            } else {
                RC_Raw_Throttle = HAL_TIM_ReadCapturedValue(htim, TIM_CHANNEL_3) - val_start_thr;
            }
        }
        // 4. YAW (PA3 - CH4)
        else if (htim->Channel == HAL_TIM_ACTIVE_CHANNEL_4) {
            if (HAL_GPIO_ReadPin(GPIOA, GPIO_PIN_3) == GPIO_PIN_SET) {
                val_start_yaw = HAL_TIM_ReadCapturedValue(htim, TIM_CHANNEL_4);
            } else {
                RC_Raw_Yaw = HAL_TIM_ReadCapturedValue(htim, TIM_CHANNEL_4) - val_start_yaw;
            }
        }
    }

    // --- XỬ LÝ TIM1 (2 Công tắc: SW_Arm, SW_Mode) ---
    // Lưu ý: TIM1 dùng PA8 (CH1) và PA11 (CH4)
    if (htim->Instance == TIM1)
    {
        // 5. SW ARM (PA8 - CH1)
        if (htim->Channel == HAL_TIM_ACTIVE_CHANNEL_1) {
            if (HAL_GPIO_ReadPin(GPIOA, GPIO_PIN_8) == GPIO_PIN_SET) {
                val_start_arm = HAL_TIM_ReadCapturedValue(htim, TIM_CHANNEL_1);
            } else {
                // Xử lý tràn Timer 16-bit (nếu có)
                uint32_t val_end = HAL_TIM_ReadCapturedValue(htim, TIM_CHANNEL_1);
                if (val_end >= val_start_arm)
                    RC_Raw_SW_Arm = val_end - val_start_arm;
                else
                    RC_Raw_SW_Arm = (0xFFFF - val_start_arm) + val_end;
            }
        }
        // 6. SW MODE (PA11 - CH4)
        else if (htim->Channel == HAL_TIM_ACTIVE_CHANNEL_4) {
            if (HAL_GPIO_ReadPin(GPIOA, GPIO_PIN_11) == GPIO_PIN_SET) {
                val_start_mode = HAL_TIM_ReadCapturedValue(htim, TIM_CHANNEL_4);
            } else {
                uint32_t val_end = HAL_TIM_ReadCapturedValue(htim, TIM_CHANNEL_4);
                if (val_end >= val_start_mode)
                    RC_Raw_SW_Mode = val_end - val_start_mode;
                else
                    RC_Raw_SW_Mode = (0xFFFF - val_start_mode) + val_end;
            }
        }
    }
}

/* USER CODE END 4 */

void Error_Handler(void)
{
  __disable_irq();
  while (1) {}
}
